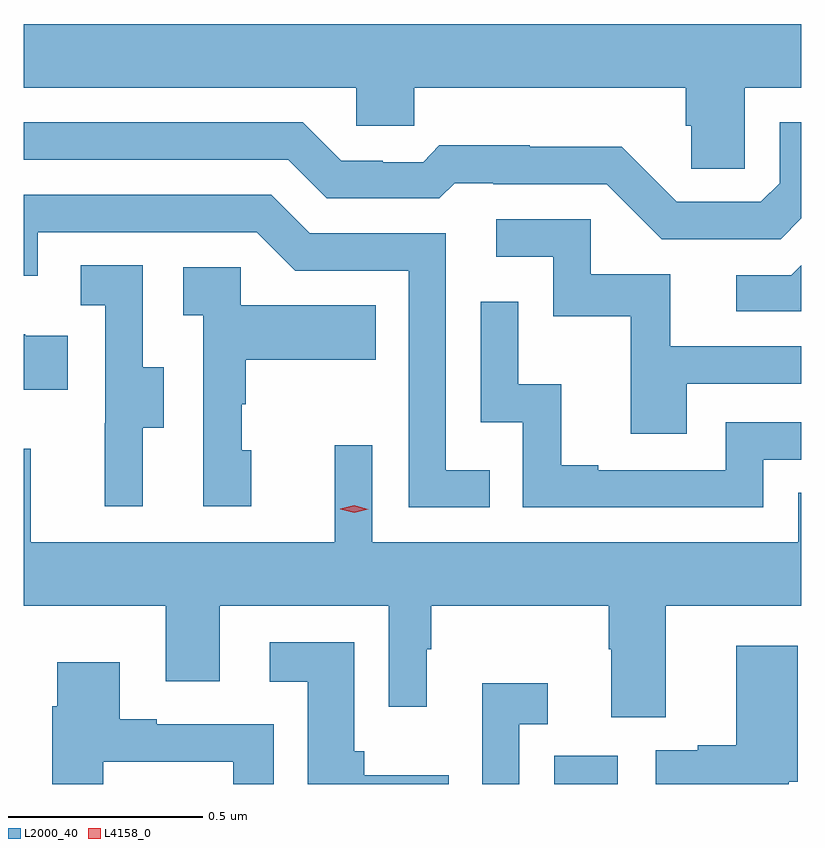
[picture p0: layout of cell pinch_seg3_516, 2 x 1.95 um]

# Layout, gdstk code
import gdstk
lib = gdstk.Library(unit=1e-6, precision=1e-09)
def R(c, l, rs):  # rectangles x0, y0, x1, y1
    for r in rs: c.add(gdstk.rectangle(r[:2], r[2:], *l))
def P(c, l, *ps):  # polygons
    for p in ps: c.add(gdstk.Polygon(p, *l))
L2000_40 = (2000, 40)
L4158_0 = (4158, 0)

pinch_seg3_516 = lib.new_cell('pinch_seg3_516')
R(pinch_seg3_516, L2000_40, [(957.86,677.814,958.024,677.887)])
P(pinch_seg3_516, L2000_40, [(958.35,679.604),(958.496,679.604),(958.496,679.768),(956.496,679.768),(956.496,679.604),(957.351,679.604),(957.351,679.506),(957.501,679.506),(957.501,679.604),(958.199,679.604),(958.199,679.506),(958.213,679.506),(958.213,679.396),(958.35,679.396)],
  [(958.496,679.268),(958.496,679.515),(958.44,679.515),(958.44,679.359),(958.392,679.311),(958.176,679.311),(958.034,679.453),(957.798,679.453),(957.798,679.456),(957.565,679.456),(957.523,679.413),(957.42,679.413),(957.42,679.416),(957.313,679.416),(957.214,679.515),(956.496,679.515),(956.496,679.419),(957.177,679.419),(957.276,679.32),(957.565,679.32),(957.604,679.359),(957.703,679.359),(957.703,679.356),(957.996,679.356),(958.137,679.215),(958.443,679.215)],
  [(957.695,678.621),(957.582,678.621),(957.582,679.23),(957.232,679.23),(957.133,679.329),(956.496,679.329),(956.496,679.121),(956.532,679.121),(956.532,679.233),(957.096,679.233),(957.195,679.134),(957.486,679.134),(957.486,678.525),(957.695,678.525)],
  [(958.201,678.843),(958.496,678.843),(958.496,678.939),(958.159,678.939),(958.159,679.125),(957.954,679.125),(957.954,679.266),(957.711,679.266),(957.711,679.17),(957.858,679.17),(957.858,679.017),(958.057,679.017),(958.057,678.714),(958.201,678.714)],
  [(956.803,678.73),(956.857,678.73),(956.857,678.885),(956.802,678.885),(956.802,679.148),(956.643,679.148),(956.643,679.045),(956.706,679.045),(956.706,678.741),(956.705,678.741),(956.705,678.528),(956.803,678.528)],
  [(958.496,679.148),(958.47,679.122),(958.329,679.122),(958.329,679.029),(958.496,679.029)],
  [(957.082,678.672),(957.057,678.672),(957.057,678.791),(957.067,678.791),(957.067,678.905),(957.401,678.905),(957.401,679.045),(957.054,679.045),(957.054,679.143),(956.907,679.143),(956.907,679.019),(956.958,679.019),(956.958,678.528),(957.082,678.528)],
  [(958.398,678.648),(958.496,678.648),(958.496,678.744),(958.302,678.744),(958.302,678.621),(957.973,678.621),(957.973,678.634),(957.878,678.634),(957.878,678.842),(957.768,678.842),(957.768,679.054),(957.672,679.054),(957.672,678.744),(957.78,678.744),(957.78,678.525),(958.398,678.525)],
  [(956.609,678.967),(956.501,678.967),(956.501,678.97),(956.496,678.97),(956.496,678.827),(956.609,678.827)],
  [(958.147,678.272),(958.496,678.272),(958.496,678.563),(958.488,678.563),(958.488,678.436),(957.393,678.436),(957.393,678.685),(957.296,678.685),(957.296,678.436),(956.515,678.436),(956.515,678.676),(956.496,678.676),(956.496,678.272),(956.861,678.272),(956.861,678.078),(957.001,678.078),(957.001,678.272),(957.435,678.272),(957.435,678.012),(957.532,678.012),(957.532,678.16),(957.544,678.16),(957.544,678.272),(958,678.272),(958,678.16),(958.007,678.16),(958.007,677.986),(958.147,677.986)],
  [(957.589,677.836),(957.372,677.836),(957.372,677.898),(957.346,677.898),(957.346,678.178),(957.129,678.178),(957.129,678.077),(957.227,678.077),(957.227,677.814),(957.589,677.814)],
  [(958.464,677.82),(958.486,677.82),(958.486,678.169),(958.328,678.169),(958.328,677.914),(958.229,677.914),(958.229,677.901),(958.122,677.901),(958.122,677.814),(958.464,677.814)],
  [(956.701,677.871),(957.035,677.871),(957.035,677.814),(957.139,677.814),(957.139,677.967),(956.839,677.967),(956.839,677.98),(956.743,677.98),(956.743,678.127),(956.582,678.127),(956.582,678.014),(956.57,678.014),(956.57,677.814),(956.701,677.814)],
  [(957.771,677.967),(957.844,677.967),(957.844,678.073),(957.675,678.073),(957.675,677.814),(957.771,677.814)])
P(pinch_seg3_516, L4158_0, [(957.346,678.511),(957.31,678.521),(957.31,678.522),(957.31,678.522),(957.346,678.531),(957.382,678.521),(957.382,678.521),(957.382,678.52)])

lib.write_gds('pinch_seg3_516.gds')
